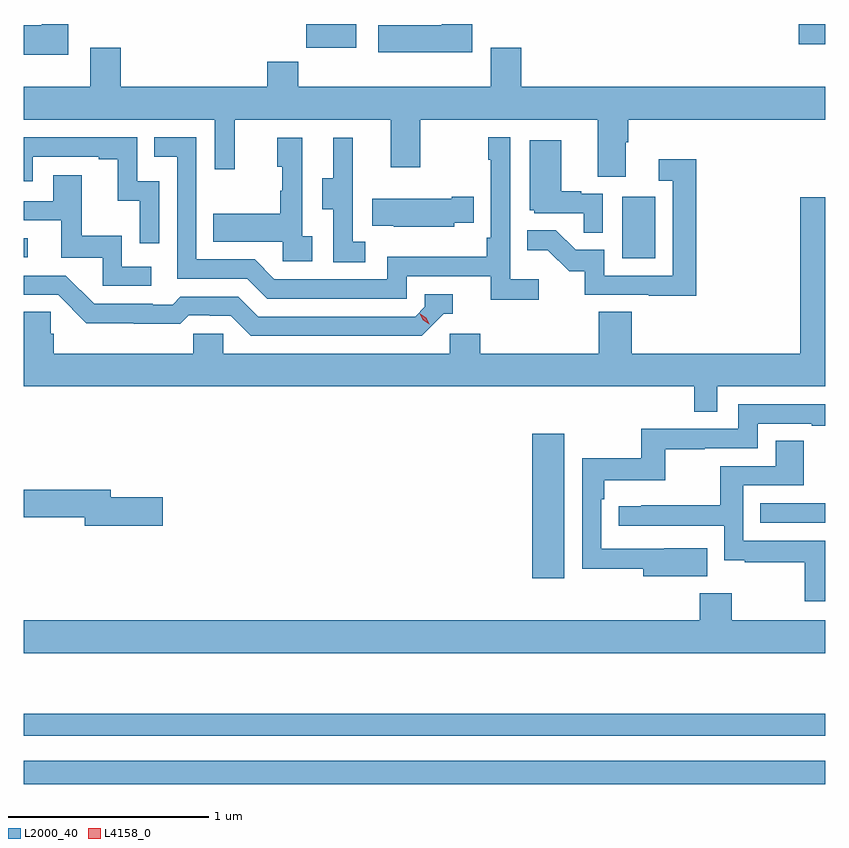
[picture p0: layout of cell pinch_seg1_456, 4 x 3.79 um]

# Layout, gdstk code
import gdstk
lib = gdstk.Library(unit=1e-6, precision=1e-09)
def R(c, l, rs):  # rectangles x0, y0, x1, y1
    for r in rs: c.add(gdstk.rectangle(r[:2], r[2:], *l))
def P(c, l, *ps):  # polygons
    for p in ps: c.add(gdstk.Polygon(p, *l))
L2000_40 = (2000, 40)
L4158_0 = (4158, 0)

pinch_seg1_456 = lib.new_cell('pinch_seg1_456')
R(pinch_seg1_456, L2000_40, [(972.897,509.788,976.897,509.904), (972.897,510.03,976.897,510.139), (975.434,510.816,975.595,511.537), (976.573,511.092,976.897,511.188), (975.884,512.412,976.048,512.719), (972.897,512.418,972.916,512.511), (976.766,513.48,976.897,513.581)])
P(pinch_seg1_456, L2000_40, [(974.557,513.581),(974.447,513.581),(974.447,513.58),(974.308,513.58),(974.308,513.462),(974.557,513.462)],
  [(973.12,513.581),(972.986,513.581),(972.986,513.574),(972.897,513.574),(972.897,513.428),(973.12,513.428)],
  [(975.136,513.581),(974.984,513.581),(974.984,513.574),(974.667,513.574),(974.667,513.44),(975.136,513.44)],
  [(975.901,512.992),(975.914,512.992),(975.914,513.104),(976.897,513.104),(976.897,513.268),(975.38,513.268),(975.38,513.463),(975.227,513.463),(975.227,513.268),(974.267,513.268),(974.267,513.392),(974.111,513.392),(974.111,513.268),(973.382,513.268),(973.382,513.463),(973.229,513.463),(973.229,513.268),(972.897,513.268),(972.897,513.104),(973.851,513.104),(973.851,512.856),(973.949,512.856),(973.949,513.104),(974.729,513.104),(974.729,512.865),(974.877,512.865),(974.877,513.104),(975.761,513.104),(975.761,512.818),(975.901,512.818)],
  [(975.466,512.308),(975.324,512.308),(975.324,513.016),(975.216,513.016),(975.216,512.903),(975.228,512.903),(975.228,512.515),(975.208,512.515),(975.208,512.419),(974.712,512.419),(974.712,512.307),(974.148,512.307),(974.049,512.406),(973.758,512.406),(973.758,513.015),(973.549,513.015),(973.549,512.919),(973.662,512.919),(973.662,512.31),(974.012,512.31),(974.111,512.211),(974.808,512.211),(974.808,512.322),(975.227,512.322),(975.227,512.206),(975.466,512.206)],
  [(973.572,512.796),(973.464,512.796),(973.464,513.015),(972.897,513.015),(972.897,512.796),(972.942,512.796),(972.942,512.919),(973.271,512.919),(973.271,512.907),(973.367,512.907),(973.367,512.699),(973.476,512.699),(973.476,512.487),(973.572,512.487)],
  [(974.602,512.495),(974.538,512.495),(974.538,512.799),(974.54,512.799),(974.54,513.013),(974.441,513.013),(974.441,512.811),(974.387,512.811),(974.387,512.656),(974.442,512.656),(974.442,512.392),(974.602,512.392)],
  [(974.338,512.522),(974.286,512.522),(974.286,513.013),(974.162,513.013),(974.162,512.868),(974.188,512.868),(974.188,512.75),(974.178,512.75),(974.178,512.635),(973.843,512.635),(973.843,512.495),(974.19,512.495),(974.19,512.397),(974.338,512.397)],
  [(975.786,512.733),(975.68,512.733),(975.68,512.746),(975.58,512.746),(975.58,513.001),(975.422,513.001),(975.422,512.652),(975.444,512.652),(975.444,512.637),(975.691,512.637),(975.691,512.539),(975.786,512.539)],
  [(976.253,512.905),(976.065,512.905),(976.065,512.799),(976.137,512.799),(976.137,512.325),(975.795,512.325),(975.795,512.454),(975.651,512.454),(975.553,512.552),(975.409,512.552),(975.409,512.453),(975.513,512.453),(975.62,512.346),(975.697,512.346),(975.697,512.229),(976.015,512.229),(976.015,512.224),(976.253,512.224)],
  [(973.534,512.37),(973.386,512.37),(973.386,512.524),(973.187,512.524),(973.187,512.827),(973.043,512.827),(973.043,512.697),(972.897,512.697),(972.897,512.601),(973.085,512.601),(973.085,512.415),(973.29,512.415),(973.29,512.274),(973.534,512.274)],
  [(975.045,512.588),(975.143,512.588),(975.143,512.718),(975.032,512.718),(975.032,512.71),(974.635,512.71),(974.635,512.573),(974.743,512.573),(974.743,512.57),(975.045,512.57)],
  [(976.359,511.772),(976.897,511.772),(976.897,512.716),(976.772,512.716),(976.772,511.936),(975.932,511.936),(975.932,512.144),(975.767,512.144),(975.767,511.936),(975.176,511.936),(975.176,512.034),(975.024,512.034),(975.024,511.936),(973.893,511.936),(973.893,512.034),(973.743,512.034),(973.743,511.936),(973.046,511.936),(973.046,512.034),(973.031,512.034),(973.031,512.144),(972.897,512.144),(972.897,511.772),(976.243,511.772),(976.243,511.645),(976.359,511.645)],
  [(974.994,512.136),(975.037,512.136),(975.037,512.232),(974.898,512.232),(974.898,512.169),(974.85,512.121),(974.067,512.121),(973.968,512.22),(973.679,512.22),(973.64,512.181),(973.541,512.181),(973.541,512.184),(973.248,512.184),(973.107,512.325),(972.897,512.325),(972.897,512.229),(973.068,512.229),(973.21,512.087),(973.446,512.087),(973.446,512.085),(973.679,512.085),(973.721,512.127),(973.824,512.127),(973.824,512.124),(973.931,512.124),(974.03,512.025),(974.883,512.025)],
  [(976.307,510.964),(976.093,510.964),(976.093,510.963),(975.78,510.963),(975.78,511.208),(975.794,511.208),(975.794,511.304),(976.099,511.304),(976.099,511.459),(976.295,511.459),(976.295,511.464),(976.56,511.464),(976.56,511.587),(976.829,511.587),(976.829,511.575),(976.897,511.575),(976.897,511.683),(976.464,511.683),(976.464,511.56),(975.978,511.56),(975.978,511.414),(975.684,511.414),(975.684,510.862),(975.989,510.862),(975.989,510.824),(976.307,510.824)],
  [(976.897,511.002),(976.488,511.002),(976.488,511.278),(976.789,511.278),(976.789,511.502),(976.649,511.502),(976.649,511.374),(976.372,511.374),(976.372,511.178),(975.979,511.178),(975.979,511.173),(975.867,511.173),(975.867,511.077),(976.392,511.077),(976.392,510.905),(976.495,510.905),(976.495,510.894),(976.794,510.894),(976.794,510.699),(976.897,510.699)],
  [(973.591,511.22),(973.33,511.22),(973.33,511.256),(972.897,511.256),(972.897,511.12),(973.202,511.12),(973.202,511.078),(973.591,511.078)],
  [(976.897,510.604),(976.431,510.604),(976.431,510.739),(976.271,510.739),(976.271,510.604),(972.897,510.604),(972.897,510.44),(976.897,510.44)])
P(pinch_seg1_456, L4158_0, [(974.921,512.083),(974.89,512.102),(974.874,512.135),(974.874,512.136),(974.875,512.136),(974.905,512.116),(974.921,512.083),(974.921,512.083)])

lib.write_gds('pinch_seg1_456.gds')
